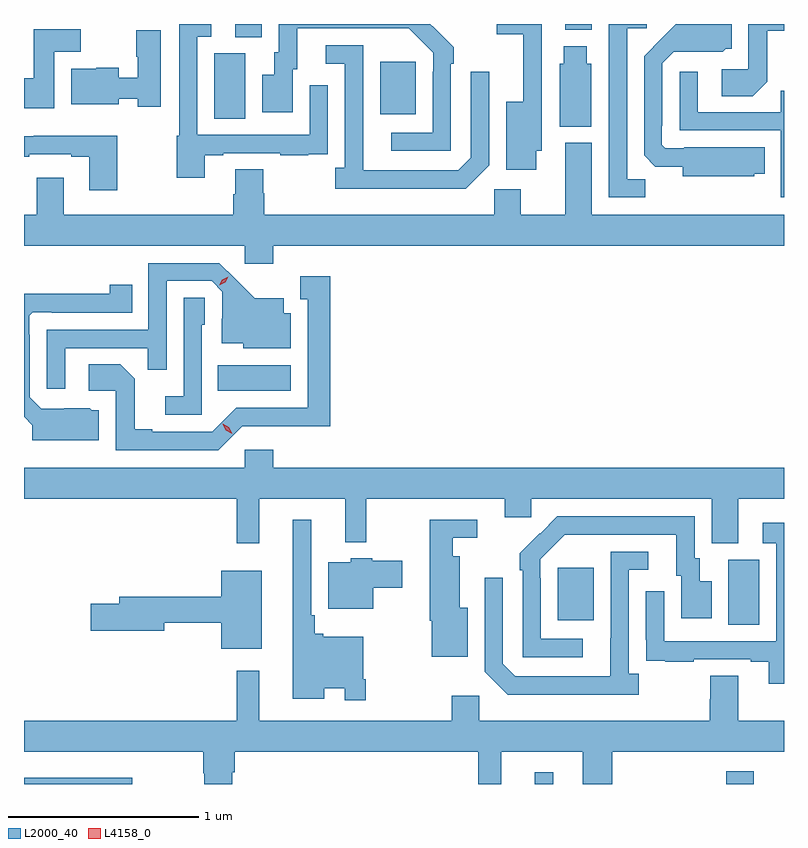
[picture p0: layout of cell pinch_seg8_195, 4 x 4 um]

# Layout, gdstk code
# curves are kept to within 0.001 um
import gdstk
lib = gdstk.Library(unit=1e-6, precision=1e-09)
def R(c, l, rs):  # rectangles x0, y0, x1, y1
    for r in rs: c.add(gdstk.rectangle(r[:2], r[2:], *l))
def P(c, l, *ps):  # polygons
    for p in ps: c.add(gdstk.Polygon(p, *l))
L2000_40 = (2000, 40)
L4158_0 = (4158, 0)

pinch_seg8_195 = lib.new_cell('pinch_seg8_195')
R(pinch_seg8_195, L2000_40, [(636.735,1156.291,637.306,1156.324), (639.422,1156.291,639.52,1156.354), (640.43,1156.291,640.576,1156.357), (640.442,1157.128,640.606,1157.472), (639.545,1157.153,639.733,1157.428), (637.756,1158.362,638.14,1158.496), (637.736,1159.792,637.9,1160.136), (638.609,1159.817,638.797,1160.092), (637.847,1160.221,637.987,1160.291), (639.584,1160.262,639.724,1160.291)])
P(pinch_seg8_195, L2000_40, [(640.005,1159.475),(639.909,1159.475),(639.909,1160.268),(640.012,1160.268),(640.012,1160.291),(639.813,1160.291),(639.813,1159.38),(640.005,1159.38)],
  [(640.578,1159.502),(640.634,1159.502),(640.634,1159.642),(640.21,1159.642),(640.21,1159.638),(640.11,1159.638),(640.092,1159.656),(640.092,1159.756),(640.095,1159.756),(640.095,1160.085),(640.155,1160.145),(640.412,1160.144),(640.428,1160.16),(640.459,1160.16),(640.459,1160.291),(640.166,1160.291),(639.999,1160.122),(639.999,1159.6),(640.058,1159.541),(640.202,1159.541),(640.202,1159.49),(640.578,1159.49)],
  [(637.687,1159.599),(637.783,1159.599),(637.783,1159.611),(638.083,1159.611),(638.083,1159.599),(638.231,1159.599),(638.231,1159.605),(638.333,1159.605),(638.333,1159.714),(638.334,1159.714),(638.334,1159.969),(638.238,1159.969),(638.238,1159.707),(637.647,1159.707),(637.647,1160.223),(637.72,1160.223),(637.72,1160.291),(637.551,1160.291),(637.551,1159.704),(637.539,1159.704),(637.539,1159.482),(637.687,1159.482)],
  [(638.982,1160.081),(638.997,1160.081),(638.997,1160.169),(638.892,1160.274),(638.891,1160.273),(638.873,1160.291),(638.076,1160.291),(638.076,1160.142),(638.051,1160.142),(638.051,1160.023),(637.988,1160.023),(637.988,1159.827),(638.149,1159.827),(638.149,1160.052),(638.173,1160.052),(638.173,1160.268),(638.761,1160.268),(638.889,1160.139),(638.889,1160.039),(638.886,1160.039),(638.886,1159.719),(638.667,1159.719),(638.667,1159.623),(638.982,1159.623)],
  [(640.647,1159.988),(640.647,1160.256),(640.735,1160.256),(640.735,1160.291),(640.548,1160.291),(640.548,1160.052),(640.407,1160.052),(640.407,1159.912),(640.571,1159.912)],
  [(639.43,1159.625),(639.459,1159.625),(639.459,1160.291),(639.222,1160.291),(639.222,1160.238),(639.362,1160.238),(639.362,1159.882),(639.272,1159.882),(639.272,1159.524),(639.43,1159.524)],
  [(636.895,1160.144),(637.034,1160.144),(637.034,1160.263),(636.785,1160.263),(636.785,1160.005),(636.735,1160.005),(636.735,1159.847),(636.895,1159.847)],
  [(637.456,1160.257),(637.327,1160.257),(637.327,1160.118),(637.334,1160.118),(637.334,1160.008),(637.234,1160.008),(637.234,1160.062),(637.116,1160.062),(637.116,1160.056),(636.983,1160.056),(636.983,1159.868),(637.234,1159.868),(637.234,1159.898),(637.334,1159.898),(637.334,1159.856),(637.456,1159.856)],
  [(639.183,1159.547),(639.183,1160.041),(639.087,1160.041),(639.087,1159.587),(639.021,1159.521),(638.521,1159.521),(638.52,1160.178),(638.322,1160.178),(638.322,1160.082),(638.424,1160.082),(638.424,1159.534),(638.373,1159.534),(638.373,1159.424),(639.06,1159.424)],
  [(639.721,1160.082),(639.697,1160.082),(639.697,1160.173),(639.575,1160.173),(639.575,1160.082),(639.554,1160.082),(639.554,1159.751),(639.721,1159.751)],
  [(640.735,1159.94),(640.717,1159.94),(640.717,1159.827),(640.281,1159.827),(640.281,1160.041),(640.185,1160.041),(640.185,1159.731),(640.719,1159.731),(640.719,1159.38),(640.735,1159.38)],
  [(637.227,1159.702),(636.786,1159.702),(636.786,1159.701),(636.735,1159.701),(636.735,1159.593),(636.763,1159.593),(636.763,1159.605),(636.983,1159.605),(636.983,1159.593),(637.079,1159.593),(637.079,1159.416),(637.227,1159.416)],
  [(638.048,1159.124),(640.735,1159.124),(640.735,1159.288),(639.724,1159.288),(639.724,1159.666),(639.584,1159.666),(639.584,1159.288),(639.349,1159.288),(639.349,1159.42),(639.21,1159.42),(639.21,1159.288),(638,1159.288),(638,1159.401),(637.995,1159.401),(637.995,1159.526),(637.847,1159.526),(637.847,1159.394),(637.835,1159.394),(637.835,1159.288),(636.943,1159.288),(636.943,1159.483),(636.803,1159.483),(636.803,1159.288),(636.735,1159.288),(636.735,1159.124),(637.896,1159.124),(637.896,1159.029),(638.048,1159.029)],
  [(636.951,1158.585),(637.387,1158.585),(637.387,1158.472),(637.485,1158.472),(637.485,1158.939),(637.722,1158.939),(637.779,1158.882),(637.779,1158.74),(637.775,1158.74),(637.775,1158.611),(637.89,1158.611),(637.89,1158.584),(638.14,1158.584),(638.14,1158.769),(638.101,1158.769),(638.101,1158.847),(637.949,1158.847),(637.762,1159.032),(637.389,1159.032),(637.389,1158.681),(636.855,1158.681),(636.855,1158.372),(636.951,1158.372)],
  [(637.884,1158.174),(638.347,1158.173),(638.347,1158.964),(638.189,1158.964),(638.189,1158.843),(638.228,1158.843),(638.228,1158.27),(637.851,1158.27),(637.725,1158.144),(637.411,1158.144),(637.411,1158.157),(637.317,1158.157),(637.317,1158.424),(637.241,1158.5),(637.077,1158.5),(637.077,1158.36),(637.218,1158.36),(637.218,1158.048),(637.758,1158.048)],
  [(637.129,1158.259),(637.091,1158.259),(637.082,1158.268),(636.825,1158.267),(636.765,1158.327),(636.765,1158.656),(636.762,1158.656),(636.762,1158.756),(636.78,1158.774),(636.88,1158.774),(636.88,1158.771),(637.304,1158.771),(637.304,1158.919),(637.186,1158.919),(637.186,1158.872),(636.735,1158.871),(636.735,1158.224),(636.779,1158.18),(636.779,1158.101),(637.129,1158.101)],
  [(637.671,1158.708),(637.686,1158.708),(637.686,1158.851),(637.575,1158.851),(637.575,1158.331),(637.479,1158.331),(637.479,1158.234),(637.671,1158.234)],
  [(640.495,1157.792),(640.735,1157.792),(640.735,1157.956),(638.048,1157.956),(638.048,1158.049),(637.896,1158.049),(637.896,1157.956),(636.735,1157.956),(636.735,1157.792),(637.855,1157.792),(637.855,1157.559),(637.973,1157.559),(637.973,1157.792),(638.426,1157.792),(638.426,1157.564),(638.536,1157.564),(638.536,1157.792),(639.266,1157.792),(639.266,1157.694),(639.405,1157.694),(639.405,1157.792),(640.355,1157.792),(640.355,1157.557),(640.495,1157.557)],
  [(639.676,1157.055),(639.456,1157.055),(639.456,1157.375),(639.453,1157.375),(639.453,1157.475),(639.582,1157.604),(640.169,1157.604),(640.169,1157.388),(640.193,1157.388),(640.193,1157.163),(640.354,1157.163),(640.354,1157.359),(640.291,1157.359),(640.291,1157.478),(640.266,1157.478),(640.266,1157.7),(639.542,1157.7),(639.345,1157.505),(639.345,1157.417),(639.36,1157.417),(639.36,1156.959),(639.676,1156.959)],
  [(638.533,1156.843),(638.52,1156.843),(638.52,1157.065),(638.31,1157.065),(638.31,1157.083),(638.264,1157.083),(638.264,1157.179),(638.247,1157.179),(638.247,1157.683),(638.15,1157.683),(638.15,1156.739),(638.314,1156.739),(638.314,1156.796),(638.424,1156.796),(638.424,1156.731),(638.533,1156.731)],
  [(639.07,1157.218),(639.028,1157.218),(639.028,1157.491),(638.992,1157.491),(638.992,1157.586),(639.121,1157.586),(639.121,1157.682),(638.87,1157.682),(638.87,1157.151),(638.882,1157.151),(638.882,1156.961),(639.07,1156.961)],
  [(640.735,1157.665),(640.623,1157.665),(640.623,1157.559),(640.695,1157.559),(640.695,1157.043),(640.104,1157.043),(640.104,1157.305),(640.008,1157.305),(640.008,1157.05),(640.009,1157.05),(640.009,1156.941),(640.111,1156.941),(640.111,1156.935),(640.259,1156.935),(640.259,1156.947),(640.559,1156.947),(640.559,1156.935),(640.655,1156.935),(640.655,1156.818),(640.735,1156.818)],
  [(639.97,1156.87),(639.918,1156.87),(639.918,1157.418),(640.021,1157.418),(640.021,1157.514),(639.822,1157.514),(639.821,1156.857),(639.321,1156.857),(639.255,1156.923),(639.255,1157.377),(639.159,1157.377),(639.159,1156.881),(639.28,1156.76),(639.97,1156.76)],
  [(638.572,1157.324),(638.725,1157.324),(638.725,1157.466),(638.568,1157.466),(638.568,1157.479),(638.454,1157.479),(638.454,1157.458),(638.337,1157.458),(638.337,1157.214),(638.572,1157.214)],
  [(637.987,1157.413),(637.772,1157.413),(637.772,1157.276),(637.235,1157.276),(637.235,1157.24),(637.086,1157.24),(637.086,1157.098),(637.474,1157.098),(637.474,1157.14),(637.772,1157.14),(637.772,1157.003),(637.987,1157.003)],
  [(636.735,1156.46),(637.679,1156.46),(637.679,1156.347),(637.684,1156.347),(637.684,1156.291),(637.831,1156.291),(637.831,1156.354),(637.844,1156.354),(637.844,1156.46),(639.126,1156.46),(639.126,1156.291),(639.247,1156.291),(639.247,1156.46),(639.677,1156.46),(639.677,1156.291),(639.83,1156.291),(639.83,1156.46),(640.735,1156.46),(640.735,1156.624),(640.495,1156.624),(640.495,1156.862),(640.348,1156.862),(640.348,1156.737),(640.343,1156.737),(640.343,1156.624),(639.132,1156.624),(639.132,1156.756),(638.986,1156.756),(638.986,1156.624),(637.973,1156.624),(637.973,1156.888),(637.855,1156.888),(637.855,1156.624),(636.735,1156.624)])
P(pinch_seg8_195, L4158_0, [(637.83,1158.134),(637.798,1158.154),(637.782,1158.187),(637.782,1158.187),(637.782,1158.187),(637.813,1158.168),(637.83,1158.135),(637.83,1158.134)],
  [(637.762,1158.916),(637.762,1158.916),(637.779,1158.945),(637.81,1158.96),(637.81,1158.96),(637.81,1158.96),(637.793,1158.931),(637.762,1158.916)])

lib.write_gds('pinch_seg8_195.gds')
